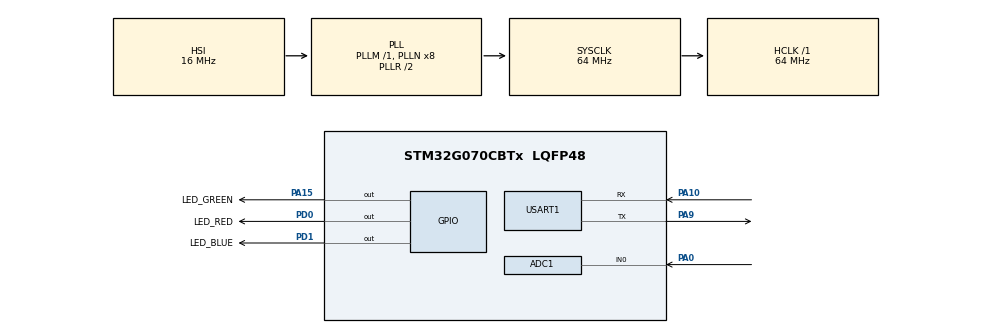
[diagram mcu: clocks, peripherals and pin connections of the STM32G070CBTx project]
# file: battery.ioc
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ADC1.Channel-0\#ChannelRegularConversion=ADC_CHANNEL_0
ADC1.ContinuousConvMode=ENABLE
ADC1.NbrOfConversionFlag=1
ADC1.Rank-0\#ChannelRegularConversion=1
ADC1.SamplingTime-0\#ChannelRegularConversion=ADC_SAMPLINGTIME_COMMON_1
ADC1.SelectedChannel=ADC_CHANNEL_0
ADC1.master=1
Dma.ADC1.0.Direction=DMA_PERIPH_TO_MEMORY
Dma.ADC1.0.EventEnable=DISABLE
Dma.ADC1.0.Instance=DMA1_Channel1
Dma.ADC1.0.MemDataAlignment=DMA_MDATAALIGN_WORD
Dma.ADC1.0.MemInc=DMA_MINC_ENABLE
Dma.ADC1.0.Mode=DMA_NORMAL
Dma.ADC1.0.PeriphDataAlignment=DMA_PDATAALIGN_WORD
Dma.ADC1.0.PeriphInc=DMA_PINC_DISABLE
Dma.ADC1.0.Polarity=HAL_DMAMUX_REQ_GEN_RISING
Dma.ADC1.0.Priority=DMA_PRIORITY_LOW
Dma.ADC1.0.RequestNumber=1
Dma.ADC1.0.SignalID=NONE
Dma.ADC1.0.SyncEnable=DISABLE
Dma.ADC1.0.SyncPolarity=HAL_DMAMUX_SYNC_NO_EVENT
Dma.ADC1.0.SyncRequestNumber=1
Dma.ADC1.0.SyncSignalID=NONE
Dma.Request0=ADC1
Mcu.Family=STM32G0
Mcu.Name=STM32G070CBTx
Mcu.Package=LQFP48
NVIC.DMA1_Channel1_IRQn=true\:0\:0\:false\:false\:true\:false\:true
PA0.Mode=IN0
PA0.Signal=ADC1_IN0
PA10.Mode=Asynchronous
PA10.Signal=USART1_RX
PA13.Mode=Serial_Wire
PA13.Signal=SYS_SWDIO
PA14-BOOT0.Mode=Serial_Wire
PA14-BOOT0.Signal=SYS_SWCLK
PA15.GPIO_Label=LED_GREEN
PA15.PinState=GPIO_PIN_SET
PA15.Signal=GPIO_Output
PA9.Mode=Asynchronous
PA9.Signal=USART1_TX
PD0.GPIO_Label=LED_RED
PD0.PinState=GPIO_PIN_SET
PD0.Signal=GPIO_Output
PD1.GPIO_Label=LED_BLUE
PD1.PinState=GPIO_PIN_SET
PD1.Signal=GPIO_Output
ProjectManager.HeapSize=0x200
ProjectManager.StackSize=0x400
ProjectManager.TargetToolchain=MDK-ARM V5
RCC.ADCFreq_Value=64000000
RCC.AHBFreq_Value=64000000
RCC.CortexFreq_Value=64000000
RCC.EXTERNAL_CLOCK_VALUE=48000
RCC.HCLKFreq_Value=64000000
RCC.HSE_VALUE=8000000
RCC.HSI_VALUE=16000000
RCC.LSE_VALUE=32768
RCC.SYSCLKFreq_VALUE=64000000
RCC.SYSCLKSource=RCC_SYSCLKSOURCE_PLLCLK
RCC.VCOOutputFreq_Value=128000000
RealThread.RT-Thread.3.1.5.RTOSJjdevice=true
RealThread.RT-Thread.3.1.5.RTOSJjkernel=true
RealThread.RT-Thread.3.1.5.RTOSJjshell=true
USART1.VirtualMode-Asynchronous=VM_ASYNC
VP_SYS_VS_DBSignals.Mode=DisableDeadBatterySignals
board=custom

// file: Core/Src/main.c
/* USER CODE BEGIN Header */
/**
  ******************************************************************************
  * @file           : main.c
  * @brief          : Main program body
  ******************************************************************************
  * @attention
  *
  * <h2><center>&copy; Copyright (c) 2022 STMicroelectronics.
  * All rights reserved.</center></h2>
  *
  * This software component is licensed by ST under Ultimate Liberty license
  * SLA0044, the "License"; You may not use this file except in compliance with
  * the License. You may obtain a copy of the License at:
  *                             www.st.com/SLA0044
  *
  ******************************************************************************
  */
/* USER CODE END Header */
#include "main.h"
#include "adc.h"
#include "dma.h"
#include "usart.h"
#include "gpio.h"

/* USER CODE BEGIN Includes */
#include "bsp_led.h"
#include "bsp_time.h"
#include "bsp_battery.h"
#include "bsp_usart.h"

/* USER CODE END Includes */

void SystemClock_Config(void);

int main(void)
{

  /* MCU Configuration--------------------------------------------------------*/

  /* Reset of all peripherals, Initializes the Flash interface and the Systick. */
  HAL_Init();

  /* Configure the system clock */
  SystemClock_Config();

  /* Initialize all configured peripherals */
  MX_GPIO_Init();
  MX_DMA_Init();
  MX_USART1_UART_Init();
  MX_ADC1_Init();
  /* USER CODE BEGIN 2 */
    BSP_LED_Init();
    BSP_Time_Init();
    BSP_UART_Init();
    BSP_Battery_Init();
  /* USER CODE END 2 */

  /* Infinite loop */
  /* USER CODE BEGIN WHILE */
  while (1)
  {
    if(BSP_Time_CheckTick() == 1)
    {
        if(BSP_Time_CheckSlice(500) == 1)
        {
            BSP_LED_Toggle(GREEN);
        }
        if(BSP_Time_CheckSlice(500) == 1)
        {
            BSP_Battery_UpdateVoltage();
        }
        if(BSP_Time_CheckSlice(1000) == 1)
        {
            float bat_voltage = BSP_Battery_GetVoltage();
            printf("bat voltage: %.2f",bat_voltage);
        }
    }
    /* USER CODE END WHILE */

  }
}

void SystemClock_Config(void)
{
  RCC_OscInitTypeDef RCC_OscInitStruct = {0};
  RCC_ClkInitTypeDef RCC_ClkInitStruct = {0};
  RCC_PeriphCLKInitTypeDef PeriphClkInit = {0};

  /** Configure the main internal regulator output voltage
  */
  HAL_PWREx_ControlVoltageScaling(PWR_REGULATOR_VOLTAGE_SCALE1);
  /** Initializes the RCC Oscillators according to the specified parameters
  * in the RCC_OscInitTypeDef structure.
  */
  RCC_OscInitStruct.OscillatorType = RCC_OSCILLATORTYPE_HSI;
  RCC_OscInitStruct.HSIState = RCC_HSI_ON;
  RCC_OscInitStruct.HSIDiv = RCC_HSI_DIV1;
  RCC_OscInitStruct.HSICalibrationValue = RCC_HSICALIBRATION_DEFAULT;
  RCC_OscInitStruct.PLL.PLLState = RCC_PLL_ON;
  RCC_OscInitStruct.PLL.PLLSource = RCC_PLLSOURCE_HSI;
  RCC_OscInitStruct.PLL.PLLM = RCC_PLLM_DIV1;
  RCC_OscInitStruct.PLL.PLLN = 8;
  RCC_OscInitStruct.PLL.PLLP = RCC_PLLP_DIV2;
  RCC_OscInitStruct.PLL.PLLR = RCC_PLLR_DIV2;
  if (HAL_RCC_OscConfig(&RCC_OscInitStruct) != HAL_OK)
  {
    Error_Handler();
  }
  /** Initializes the CPU, AHB and APB buses clocks
  */
  RCC_ClkInitStruct.ClockType = RCC_CLOCKTYPE_HCLK|RCC_CLOCKTYPE_SYSCLK
                              |RCC_CLOCKTYPE_PCLK1;
  RCC_ClkInitStruct.SYSCLKSource = RCC_SYSCLKSOURCE_PLLCLK;
  RCC_ClkInitStruct.AHBCLKDivider = RCC_SYSCLK_DIV1;
  RCC_ClkInitStruct.APB1CLKDivider = RCC_HCLK_DIV1;

  if (HAL_RCC_ClockConfig(&RCC_ClkInitStruct, FLASH_LATENCY_2) != HAL_OK)
  {
    Error_Handler();
  }
  /** Initializes the peripherals clocks
  */
  PeriphClkInit.PeriphClockSelection = RCC_PERIPHCLK_USART1|RCC_PERIPHCLK_ADC;
  PeriphClkInit.Usart1ClockSelection = RCC_USART1CLKSOURCE_PCLK1;
  PeriphClkInit.AdcClockSelection = RCC_ADCCLKSOURCE_SYSCLK;
  if (HAL_RCCEx_PeriphCLKConfig(&PeriphClkInit) != HAL_OK)
  {
    Error_Handler();
  }
}

void Error_Handler(void)
{
  __disable_irq();
  while (1)
  {
  }
}

/************************ (C) COPYRIGHT STMicroelectronics *****END OF FILE****/
